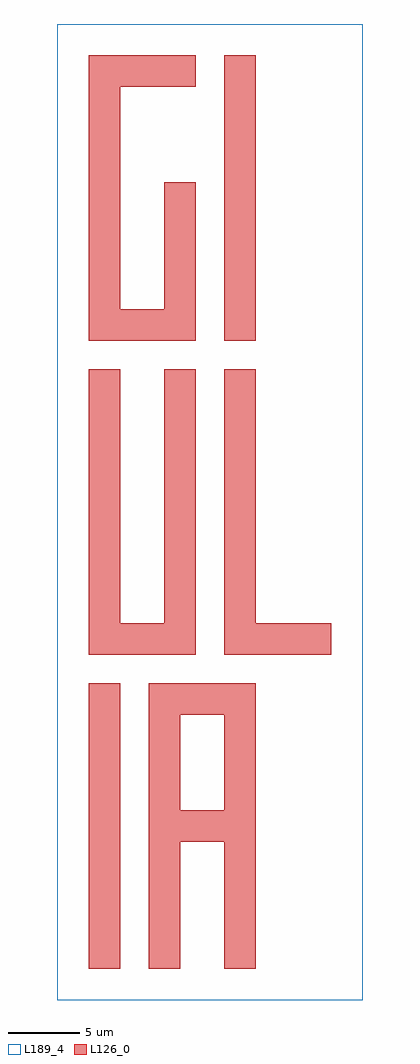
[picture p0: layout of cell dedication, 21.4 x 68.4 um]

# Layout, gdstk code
import gdstk
lib = gdstk.Library(unit=1e-6, precision=1e-09)
def R(c, l, rs):  # rectangles x0, y0, x1, y1
    for r in rs: c.add(gdstk.rectangle(r[:2], r[2:], *l))
def A(c, l, x, y, w, h, nx, ny, dx, dy):  # array of equal rectangles
    R(c, l, [(x+i*dx, y+j*dy, x+i*dx+w, y+j*dy+h) for i in range(nx) for j in range(ny)])
L126_0 = (126, 0)
L189_4 = (189, 4)

dedication = lib.new_cell('dedication')
A(dedication, L126_0, 11.7, 2.2, 2.2, 20, 1, 3, 0, 22)
R(dedication, L126_0, [(2.2,2.2,4.4,22.2), (6.4,2.2,8.6,22.2), (6.4,11.1,13.9,13.3), (6.4,20,13.9,22.2), (2.2,24.2,9.7,26.4), (11.7,24.2,19.2,26.4), (2.2,26.4,4.4,44.2), (7.5,26.4,9.7,44.2), (2.2,46.2,4.4,66.2), (2.2,46.2,9.7,48.4), (7.5,46.2,9.7,57.3), (2.2,64,9.7,66.2)])
R(dedication, L189_4, [(0,0,21.4,68.4)])

lib.write_gds('dedication.gds')
